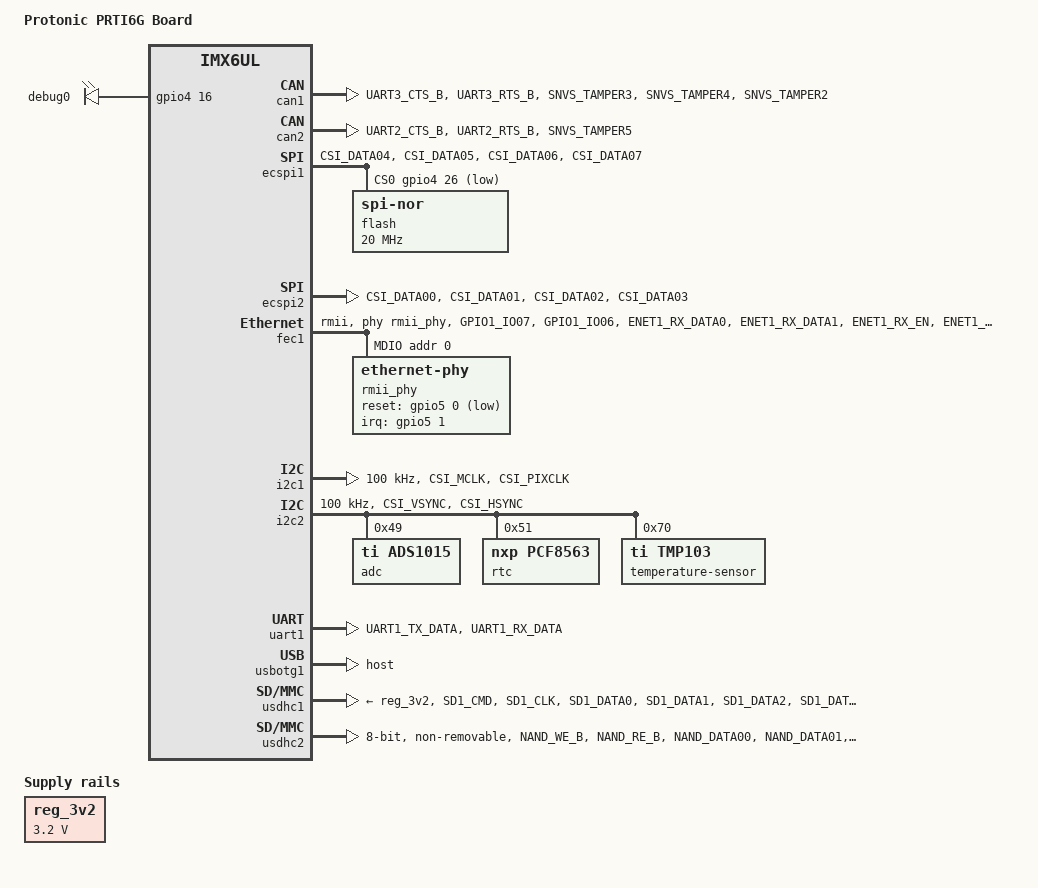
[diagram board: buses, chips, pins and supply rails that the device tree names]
// SPDX-License-Identifier: GPL-2.0-or-later OR MIT
/*
 * Copyright (c) 2016 Protonic Holland
 * Copyright (c) 2020 Oleksij Rempel <kernel@pengutronix.de>, Pengutronix
 */

/dts-v1/;
#include "imx6ul.dtsi"
#include <dt-bindings/gpio/gpio.h>

/ {
	model = "Protonic PRTI6G Board";
	compatible = "prt,prti6g", "fsl,imx6ul";

	chosen {
		stdout-path = &uart1;
	};

	clock_ksz8081_in: clock-ksz8081-in {
		compatible = "fixed-clock";
		#clock-cells = <0>;
		clock-frequency = <25000000>;
	};

	clock_ksz8081_out: clock-ksz8081-out {
		compatible = "fixed-clock";
		#clock-cells = <0>;
		clock-frequency = <50000000>;
		clock-output-names = "enet1_ref_pad";
	};

	leds {
		compatible = "gpio-leds";
		pinctrl-names = "default";
		pinctrl-0 = <&pinctrl_leds>;

		led-0 {
			label = "debug0";
			gpios = <&gpio4 16 GPIO_ACTIVE_HIGH>;
			linux,default-trigger = "heartbeat";
		};
	};

	reg_3v2: regulator-3v2 {
		compatible = "regulator-fixed";
		regulator-name = "3v2";
		regulator-min-microvolt = <3200000>;
		regulator-max-microvolt = <3200000>;
	};
};

&can1 {
	pinctrl-names = "default";
	pinctrl-0 = <&pinctrl_can1>;
	status = "okay";
};

&can2 {
	pinctrl-names = "default";
	pinctrl-0 = <&pinctrl_can2>;
	status = "okay";
};

&clks {
	clocks = <&ckil>, <&osc>, <&ipp_di0>, <&ipp_di1>, <&clock_ksz8081_out>;
	clock-names = "ckil", "osc", "ipp_di0", "ipp_di1", "enet1_ref_pad";
	assigned-clocks = <&clks IMX6UL_CLK_ENET1_REF_SEL>;
	assigned-clock-parents = <&clock_ksz8081_out>;
};

&ecspi1 {
	cs-gpios = <&gpio4 26 GPIO_ACTIVE_LOW>;
	pinctrl-names = "default";
	pinctrl-0 = <&pinctrl_ecspi1>;
	status = "okay";

	flash@0 {
		compatible = "jedec,spi-nor";
		reg = <0>;
		spi-max-frequency = <20000000>;
	};
};

&ecspi2 {
	cs-gpios = <&gpio4 22 GPIO_ACTIVE_LOW>;
	pinctrl-names = "default";
	pinctrl-0 = <&pinctrl_ecspi2>;
	status = "okay";
};

&fec1 {
	pinctrl-names = "default";
	pinctrl-0 = <&pinctrl_eth1>;
	phy-mode = "rmii";
	phy-handle = <&rmii_phy>;
	status = "okay";

	mdio {
		#address-cells = <1>;
		#size-cells = <0>;

		/* Microchip KSZ8081RNA PHY */
		rmii_phy: ethernet-phy@0 {
			reg = <0>;
			interrupts-extended = <&gpio5 1 IRQ_TYPE_LEVEL_LOW>;
			reset-gpios = <&gpio5 0 GPIO_ACTIVE_LOW>;
			reset-assert-us = <10000>;
			reset-deassert-us = <300>;
			clocks = <&clock_ksz8081_in>;
			clock-names = "rmii-ref";
		};
	};
};

&i2c1 {
	pinctrl-names = "default";
	pinctrl-0 = <&pinctrl_i2c1>;
	clock-frequency = <100000>;
	status = "okay";

	/* additional i2c devices are added automatically by the boot loader */
};

&i2c2 {
	pinctrl-names = "default";
	pinctrl-0 = <&pinctrl_i2c2>;
	clock-frequency = <100000>;
	status = "okay";

	adc@49 {
		compatible = "ti,ads1015";
		reg = <0x49>;
		#address-cells = <1>;
		#size-cells = <0>;

		channel@4 {
			reg = <4>;
			ti,gain = <3>;
			ti,datarate = <3>;
		};

		channel@5 {
			reg = <5>;
			ti,gain = <3>;
			ti,datarate = <3>;
		};

		channel@6 {
			reg = <6>;
			ti,gain = <3>;
			ti,datarate = <3>;
		};

		channel@7 {
			reg = <7>;
			ti,gain = <3>;
			ti,datarate = <3>;
		};
	};

	rtc@51 {
		compatible = "nxp,pcf8563";
		reg = <0x51>;
	};

	temperature-sensor@70 {
		compatible = "ti,tmp103";
		reg = <0x70>;
	};
};

&uart1 {
	pinctrl-names = "default";
	pinctrl-0 = <&pinctrl_uart1>;
	status = "okay";
};

&usbotg1 {
	dr_mode = "host";
	status = "okay";
};

&usdhc1 {
	pinctrl-names = "default";
	pinctrl-0 = <&pinctrl_usdhc1>;
	cd-gpios = <&gpio4 12 GPIO_ACTIVE_LOW>;
	vmmc-supply = <&reg_3v2>;
	no-1-8-v;
	disable-wp;
	cap-sd-highspeed;
	no-mmc;
	no-sdio;
	status = "okay";
};

&usdhc2 {
	pinctrl-names = "default";
	pinctrl-0 = <&pinctrl_usdhc2>;
	bus-width = <8>;
	no-1-8-v;
	non-removable;
	no-sd;
	no-sdio;
	status = "okay";
};

&iomuxc {
	pinctrl-names = "default";
	pinctrl-0 = <&pinctrl_hog>;

	pinctrl_can1: can1grp {
		fsl,pins = <
			MX6UL_PAD_UART3_CTS_B__FLEXCAN1_TX		0x0b0b0
			MX6UL_PAD_UART3_RTS_B__FLEXCAN1_RX		0x0b0b0
			/* SR */
			MX6UL_PAD_SNVS_TAMPER3__GPIO5_IO03		0x0b0b0
			/* TERM */
			MX6UL_PAD_SNVS_TAMPER4__GPIO5_IO04		0x0b0b0
			/* nSMBALERT */
			MX6UL_PAD_SNVS_TAMPER2__GPIO5_IO02		0x0b0b0
		>;
	};

	pinctrl_can2: can2grp {
		fsl,pins = <
			MX6UL_PAD_UART2_CTS_B__FLEXCAN2_TX		0x0b0b0
			MX6UL_PAD_UART2_RTS_B__FLEXCAN2_RX		0x0b0b0
			/* SR */
			MX6UL_PAD_SNVS_TAMPER5__GPIO5_IO05		0x0b0b0
		>;
	};

	pinctrl_ecspi1: ecspi1grp {
		fsl,pins = <
			MX6UL_PAD_CSI_DATA04__ECSPI1_SCLK		0x0b0b0
			MX6UL_PAD_CSI_DATA05__GPIO4_IO26		0x000b1
			MX6UL_PAD_CSI_DATA06__ECSPI1_MOSI		0x0b0b0
			MX6UL_PAD_CSI_DATA07__ECSPI1_MISO		0x0b0b0
		>;
	};

	pinctrl_ecspi2: ecspi2grp {
		fsl,pins = <
			MX6UL_PAD_CSI_DATA00__ECSPI2_SCLK		0x0b0b0
			MX6UL_PAD_CSI_DATA01__GPIO4_IO22		0x000b1
			MX6UL_PAD_CSI_DATA02__ECSPI2_MOSI		0x0b0b0
			MX6UL_PAD_CSI_DATA03__ECSPI2_MISO		0x0b0b0
		>;
	};

	pinctrl_eth1: eth1grp {
		fsl,pins = <
			MX6UL_PAD_GPIO1_IO07__ENET1_MDC			0x1b0b0
			MX6UL_PAD_GPIO1_IO06__ENET1_MDIO		0x100b0
			MX6UL_PAD_ENET1_RX_DATA0__ENET1_RDATA00		0x1b0b0
			MX6UL_PAD_ENET1_RX_DATA1__ENET1_RDATA01		0x1b0b0
			MX6UL_PAD_ENET1_RX_EN__ENET1_RX_EN		0x100b0
			MX6UL_PAD_ENET1_RX_ER__ENET1_RX_ER		0x1b0b0
			MX6UL_PAD_ENET1_TX_EN__ENET1_TX_EN		0x1b0b0
			MX6UL_PAD_ENET1_TX_DATA0__ENET1_TDATA00		0x1b0b0
			MX6UL_PAD_ENET1_TX_DATA1__ENET1_TDATA01		0x1b0b0
			MX6UL_PAD_ENET1_TX_CLK__ENET1_REF_CLK1		0x1b000
			/* PHY ENET1_RST */
			MX6UL_PAD_SNVS_TAMPER0__GPIO5_IO00		0x00880
			/* PHY ENET1_IRQ */
			MX6UL_PAD_SNVS_TAMPER1__GPIO5_IO01		0x00880
		>;
	};

	pinctrl_hog: hoggrp {
		fsl,pins = <
			/* HW revision detect */
			/* REV_ID0 */
			MX6UL_PAD_ENET2_RX_DATA0__GPIO2_IO08		0x1b0b0
			/* REV_ID1 */
			MX6UL_PAD_ENET2_RX_DATA1__GPIO2_IO09		0x1b0b0
			/* REV_ID2 */
			MX6UL_PAD_ENET2_RX_EN__GPIO2_IO10		0x1b0b0
			/* REV_ID3 */
			MX6UL_PAD_ENET2_TX_DATA0__GPIO2_IO11		0x1b0b0
			/* BOARD_ID0 */
			MX6UL_PAD_ENET2_TX_EN__GPIO2_IO13		0x1b0b0
			/* BOARD_ID1 */
			MX6UL_PAD_ENET2_TX_CLK__GPIO2_IO14		0x1b0b0
			/* BOARD_ID2 */
			MX6UL_PAD_ENET2_RX_ER__GPIO2_IO15		0x1b0b0
			/* BOARD_ID3 */
			MX6UL_PAD_ENET2_TX_DATA1__GPIO2_IO12		0x1b0b0
			/* Safety controller IO */
			/* WAKE_SC */
			MX6UL_PAD_SNVS_TAMPER6__GPIO5_IO06		0x1b0b0
			/* PROGRAM_SC */
			MX6UL_PAD_SNVS_TAMPER7__GPIO5_IO07		0x1b0b0
		>;
	};

	pinctrl_i2c1: i2c1grp {
		fsl,pins = <
			MX6UL_PAD_CSI_MCLK__I2C1_SDA		0x4001b8b0
			MX6UL_PAD_CSI_PIXCLK__I2C1_SCL		0x4001b8b0
		>;
	};

	pinctrl_i2c2: i2c2grp {
		fsl,pins = <
			MX6UL_PAD_CSI_VSYNC__I2C2_SDA		0x4001b8b0
			MX6UL_PAD_CSI_HSYNC__I2C2_SCL		0x4001b8b0
		>;
	};

	pinctrl_leds: ledsgrp {
		fsl,pins = <
			MX6UL_PAD_NAND_DQS__GPIO4_IO16			0x1b0b0
		>;
	};

	pinctrl_uart1: uart1grp {
		fsl,pins = <
			MX6UL_PAD_UART1_TX_DATA__UART1_DCE_TX		0x1b0b1
			MX6UL_PAD_UART1_RX_DATA__UART1_DCE_RX		0x1b0b1
		>;
	};

	pinctrl_usdhc1: usdhc1grp {
		fsl,pins = <
			MX6UL_PAD_SD1_CMD__USDHC1_CMD			0x070b1
			MX6UL_PAD_SD1_CLK__USDHC1_CLK			0x07099
			MX6UL_PAD_SD1_DATA0__USDHC1_DATA0		0x070b1
			MX6UL_PAD_SD1_DATA1__USDHC1_DATA1		0x070b1
			MX6UL_PAD_SD1_DATA2__USDHC1_DATA2		0x070b1
			MX6UL_PAD_SD1_DATA3__USDHC1_DATA3		0x070b1
			/* SD1 CD */
			MX6UL_PAD_NAND_READY_B__GPIO4_IO12		0x170b0
		>;
	};

	pinctrl_usdhc2: usdhc2grp {
		fsl,pins = <
			MX6UL_PAD_NAND_WE_B__USDHC2_CMD			0x170f9
			MX6UL_PAD_NAND_RE_B__USDHC2_CLK			0x100f9
			MX6UL_PAD_NAND_DATA00__USDHC2_DATA0		0x170f9
			MX6UL_PAD_NAND_DATA01__USDHC2_DATA1		0x170f9
			MX6UL_PAD_NAND_DATA02__USDHC2_DATA2		0x170f9
			MX6UL_PAD_NAND_DATA03__USDHC2_DATA3		0x170f9
			MX6UL_PAD_NAND_DATA04__USDHC2_DATA4		0x170f9
			MX6UL_PAD_NAND_DATA05__USDHC2_DATA5		0x170f9
			MX6UL_PAD_NAND_DATA06__USDHC2_DATA6		0x170f9
			MX6UL_PAD_NAND_DATA07__USDHC2_DATA7		0x170f9
			MX6UL_PAD_NAND_ALE__USDHC2_RESET_B		0x170b0
		>;
	};
};
